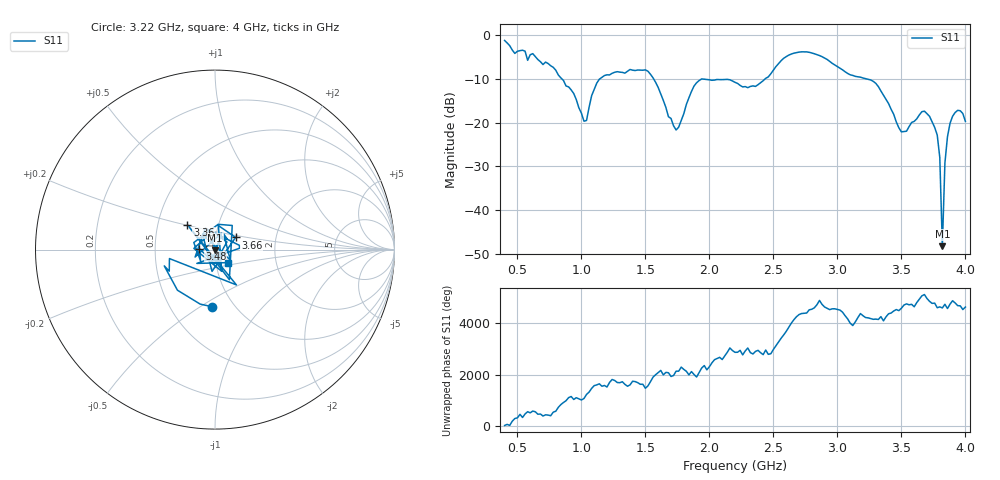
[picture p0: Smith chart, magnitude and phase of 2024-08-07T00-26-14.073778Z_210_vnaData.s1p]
!Created with skrf (http://scikit-rf.org).
# Hz S RI R 50.0
!freq ReS11 ImS11
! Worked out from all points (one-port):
!   181 points, 400 MHz to 4 GHz, reference 50 ohm
!   lowest |S11| = -48.3 dB at 3.82 GHz (marker M1), VSWR 1.01, Z = 50.1 - j0.378 ohm
!   |S11| at or under -10 dB: 1.565 GHz to 1.939 GHz (374.8 MHz wide, 21.4 % of centre); 1.943 GHz to 2.435 GHz (491.9 MHz wide, 22.5 % of centre); 3.233 GHz to end of sweep (the widest 3 of 4)
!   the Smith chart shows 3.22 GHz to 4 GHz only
!   S11 on the Smith chart (normalised r, x): 3.22 GHz: 0.79, -0.56; 3.36 GHz: 0.71, +0.20; 3.48 GHz: 0.84, +0.01; 3.66 GHz: 1.25, +0.17; 4 GHz: 1.15, -0.17
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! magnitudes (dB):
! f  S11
! 400 MHz  -1.2
! 860 MHz  -10.4
! 940 MHz  -13.3
! 1.02 GHz  -19.7
! 1.14 GHz  -10.1
! 1.3 GHz  -8.4
! 1.52 GHz  -8.2
! 1.68 GHz  -18.6
! 1.76 GHz  -21.0
! 1.92 GHz  -10.4
! 2.2 GHz  -10.8
! 2.36 GHz  -11.7
! 2.66 GHz  -4.1
! 2.86 GHz  -4.6
! 3.1 GHz  -9.0
! 3.22 GHz  -9.9
! 3.36 GHz  -13.7
! 3.48 GHz  -21.2
! 3.56 GHz  -20.9
! 3.66 GHz  -17.5
! 3.72 GHz  -18.6
! 3.78 GHz  -22.8
! 3.8 GHz  -28.0
! 3.82 GHz  -48.3
! 3.84 GHz  -29.2
! 3.86 GHz  -23.2
! 3.92 GHz  -17.7
! 4 GHz  -19.7
